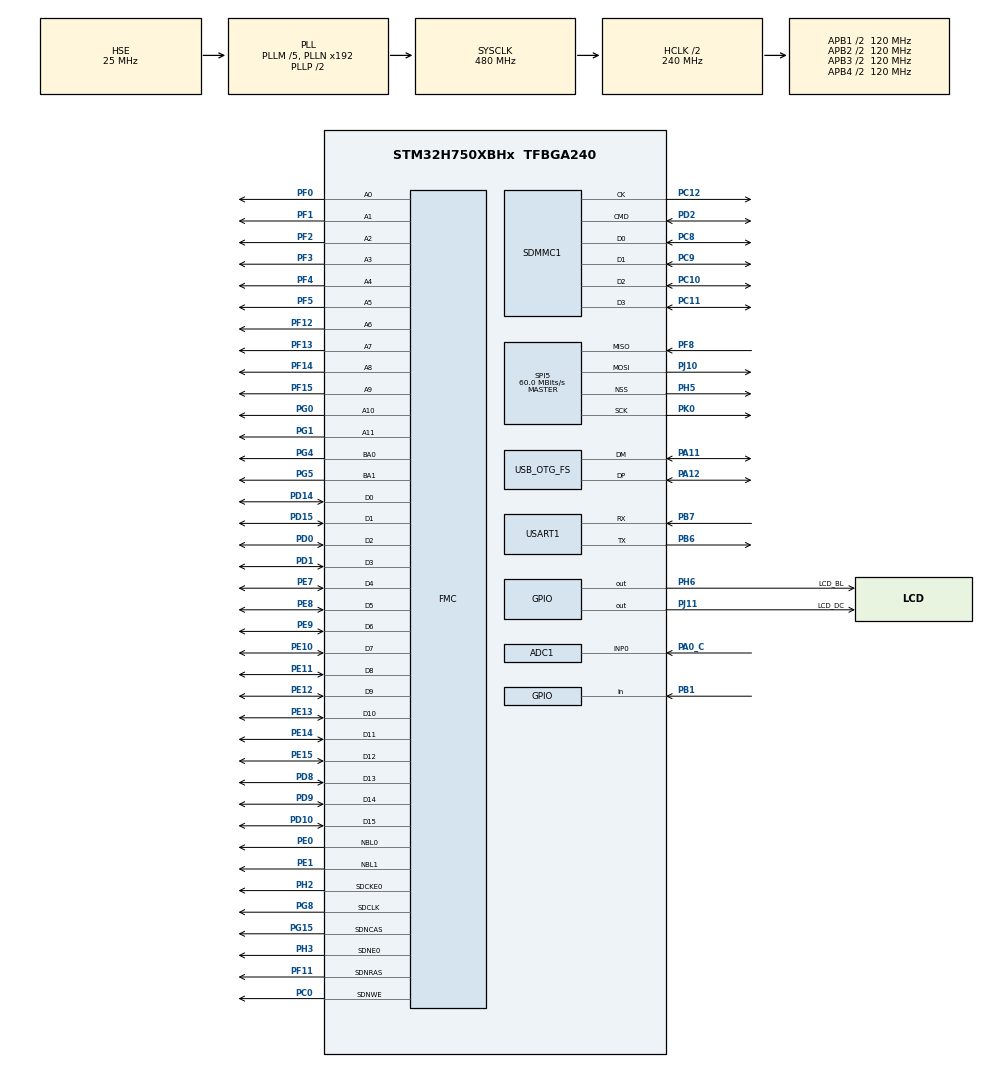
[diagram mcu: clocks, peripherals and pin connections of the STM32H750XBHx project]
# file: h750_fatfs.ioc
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ADC1.Channel-2\#ChannelRegularConversion=ADC_CHANNEL_0
ADC1.NbrOfConversionFlag=1
ADC1.OffsetNumber-2\#ChannelRegularConversion=ADC_OFFSET_NONE
ADC1.OffsetSignedSaturation-2\#ChannelRegularConversion=DISABLE
ADC1.Rank-2\#ChannelRegularConversion=1
ADC1.SamplingTime-2\#ChannelRegularConversion=ADC_SAMPLETIME_1CYCLE_5
ADC1.master=1
CORTEX_M7.AccessPermission-Cortex_Memory_Protection_Unit_Region0_Settings=MPU_REGION_FULL_ACCESS
CORTEX_M7.AccessPermission-Cortex_Memory_Protection_Unit_Region1_Settings=MPU_REGION_FULL_ACCESS
CORTEX_M7.AccessPermission-Cortex_Memory_Protection_Unit_Region2_Settings=MPU_REGION_FULL_ACCESS
CORTEX_M7.AccessPermission-Cortex_Memory_Protection_Unit_Region3_Settings=MPU_REGION_FULL_ACCESS
CORTEX_M7.AccessPermission-Cortex_Memory_Protection_Unit_Region4_Settings=MPU_REGION_FULL_ACCESS
CORTEX_M7.BaseAddress-Cortex_Memory_Protection_Unit_Region0_Settings=0x24000000
CORTEX_M7.BaseAddress-Cortex_Memory_Protection_Unit_Region1_Settings=0x30000000
CORTEX_M7.BaseAddress-Cortex_Memory_Protection_Unit_Region2_Settings=0x38000000
CORTEX_M7.BaseAddress-Cortex_Memory_Protection_Unit_Region3_Settings=0xC0000000
CORTEX_M7.BaseAddress-Cortex_Memory_Protection_Unit_Region4_Settings=0x90000000
CORTEX_M7.CPU_DCache=Enabled
CORTEX_M7.CPU_ICache=Enabled
CORTEX_M7.Enable-Cortex_Memory_Protection_Unit_Region0_Settings=MPU_REGION_ENABLE
CORTEX_M7.Enable-Cortex_Memory_Protection_Unit_Region1_Settings=MPU_REGION_ENABLE
CORTEX_M7.Enable-Cortex_Memory_Protection_Unit_Region2_Settings=MPU_REGION_ENABLE
CORTEX_M7.Enable-Cortex_Memory_Protection_Unit_Region3_Settings=MPU_REGION_ENABLE
CORTEX_M7.Enable-Cortex_Memory_Protection_Unit_Region4_Settings=MPU_REGION_ENABLE
CORTEX_M7.IsBufferable-Cortex_Memory_Protection_Unit_Region0_Settings=MPU_ACCESS_BUFFERABLE
CORTEX_M7.IsBufferable-Cortex_Memory_Protection_Unit_Region1_Settings=MPU_ACCESS_BUFFERABLE
CORTEX_M7.IsBufferable-Cortex_Memory_Protection_Unit_Region2_Settings=MPU_ACCESS_BUFFERABLE
CORTEX_M7.IsBufferable-Cortex_Memory_Protection_Unit_Region3_Settings=MPU_ACCESS_BUFFERABLE
CORTEX_M7.IsBufferable-Cortex_Memory_Protection_Unit_Region4_Settings=MPU_ACCESS_BUFFERABLE
CORTEX_M7.IsCacheable-Cortex_Memory_Protection_Unit_Region0_Settings=MPU_ACCESS_CACHEABLE
CORTEX_M7.IsCacheable-Cortex_Memory_Protection_Unit_Region1_Settings=MPU_ACCESS_CACHEABLE
CORTEX_M7.IsCacheable-Cortex_Memory_Protection_Unit_Region2_Settings=MPU_ACCESS_CACHEABLE
CORTEX_M7.IsCacheable-Cortex_Memory_Protection_Unit_Region3_Settings=MPU_ACCESS_CACHEABLE
CORTEX_M7.IsCacheable-Cortex_Memory_Protection_Unit_Region4_Settings=MPU_ACCESS_CACHEABLE
CORTEX_M7.MPU_Control=MPU_PRIVILEGED_DEFAULT
CORTEX_M7.Size-Cortex_Memory_Protection_Unit_Region0_Settings=MPU_REGION_SIZE_512KB
CORTEX_M7.Size-Cortex_Memory_Protection_Unit_Region1_Settings=MPU_REGION_SIZE_512KB
CORTEX_M7.Size-Cortex_Memory_Protection_Unit_Region2_Settings=MPU_REGION_SIZE_64KB
CORTEX_M7.Size-Cortex_Memory_Protection_Unit_Region3_Settings=MPU_REGION_SIZE_16MB
CORTEX_M7.Size-Cortex_Memory_Protection_Unit_Region4_Settings=MPU_REGION_SIZE_8MB
CORTEX_M7.TypeExtField-Cortex_Memory_Protection_Unit_Region0_Settings=MPU_TEX_LEVEL1
CORTEX_M7.TypeExtField-Cortex_Memory_Protection_Unit_Region1_Settings=MPU_TEX_LEVEL1
CORTEX_M7.TypeExtField-Cortex_Memory_Protection_Unit_Region2_Settings=MPU_TEX_LEVEL1
CORTEX_M7.TypeExtField-Cortex_Memory_Protection_Unit_Region3_Settings=MPU_TEX_LEVEL1
CORTEX_M7.TypeExtField-Cortex_Memory_Protection_Unit_Region4_Settings=MPU_TEX_LEVEL1
DMA2D.ColorMode=DMA2D_OUTPUT_RGB888
Dma.Request0=SPI5_TX
Dma.SPI5_TX.0.Direction=DMA_MEMORY_TO_PERIPH
Dma.SPI5_TX.0.EventEnable=DISABLE
Dma.SPI5_TX.0.FIFOMode=DMA_FIFOMODE_DISABLE
Dma.SPI5_TX.0.Instance=DMA1_Stream0
Dma.SPI5_TX.0.MemDataAlignment=DMA_MDATAALIGN_BYTE
Dma.SPI5_TX.0.MemInc=DMA_MINC_ENABLE
Dma.SPI5_TX.0.Mode=DMA_NORMAL
Dma.SPI5_TX.0.PeriphDataAlignment=DMA_PDATAALIGN_BYTE
Dma.SPI5_TX.0.PeriphInc=DMA_PINC_DISABLE
Dma.SPI5_TX.0.Polarity=HAL_DMAMUX_REQ_GEN_RISING
Dma.SPI5_TX.0.Priority=DMA_PRIORITY_LOW
Dma.SPI5_TX.0.RequestNumber=1
Dma.SPI5_TX.0.SignalID=NONE
Dma.SPI5_TX.0.SyncEnable=DISABLE
Dma.SPI5_TX.0.SyncPolarity=HAL_DMAMUX_SYNC_NO_EVENT
Dma.SPI5_TX.0.SyncRequestNumber=1
Dma.SPI5_TX.0.SyncSignalID=NONE
FATFS.BSP.number=1
FATFS0.BSP.STBoard=false
FATFS0.BSP.api=Unknown
FATFS0.BSP.i2caddr=0
FATFS0.BSP.instance=PB1
FATFS0.BSP.ip=GPIO
FATFS0.BSP.mode=Input
FATFS0.BSP.name=Detect_SDIO
FATFS0.BSP.solution=PB1
FMC.CASLatency1=FMC_SDRAM_CAS_LATENCY_3
FMC.ColumnBitsNumber1=FMC_SDRAM_COLUMN_BITS_NUM_9
FMC.ExitSelfRefreshDelay1=7
FMC.LoadToActiveDelay1=2
FMC.RCDDelay1=2
FMC.RPDelay1=2
FMC.RPDelay2=2
FMC.ReadBurst1=FMC_SDRAM_RBURST_ENABLE
FMC.ReadPipeDelay1=FMC_SDRAM_RPIPE_DELAY_1
FMC.RowCycleDelay1=7
FMC.RowCycleDelay2=7
FMC.SDClockPeriod1=FMC_SDRAM_CLOCK_PERIOD_2
FMC.SDClockPeriod2=FMC_SDRAM_CLOCK_PERIOD_2
FMC.SelfRefreshTime1=4
FMC.WriteRecoveryTime1=3
JPEG.JPEG_RGB_FORMAT=JPEG_RGB565
Mcu.Family=STM32H7
Mcu.Name=STM32H750XBHx
Mcu.Package=TFBGA240
NVIC.DMA1_Stream0_IRQn=true\:0\:0\:false\:false\:true\:false\:true
NVIC.OTG_FS_IRQn=true\:0\:0\:false\:false\:true\:false\:true
NVIC.PriorityGroup=NVIC_PRIORITYGROUP_4
NVIC.SDMMC1_IRQn=true\:0\:0\:false\:false\:true\:true\:true
NVIC.SPI5_IRQn=true\:0\:0\:false\:false\:true\:true\:true
NVIC.TIM2_IRQn=true\:0\:0\:false\:false\:true\:true\:true
PA0_C.Signal=ADCx_INP0
PA11.Mode=Device_Only
PA11.Signal=USB_OTG_FS_DM
PA12.Mode=Device_Only
PA12.Signal=USB_OTG_FS_DP
PA13\ (JTMS/SWDIO).Mode=Serial_Wire
PA13\ (JTMS/SWDIO).Signal=DEBUG_JTMS-SWDIO
PA14\ (JTCK/SWCLK).Mode=Serial_Wire
PA14\ (JTCK/SWCLK).Signal=DEBUG_JTCK-SWCLK
PB1.GPIO_PuPd=GPIO_PULLDOWN
PB1.Signal=GPIO_Input
PB6.Mode=Asynchronous
PB6.Signal=USART1_TX
PB7.Mode=Asynchronous
PB7.Signal=USART1_RX
PC0.Signal=FMC_SDNWE
PC10.Mode=SD_4_bits_Wide_bus
PC10.Signal=SDMMC1_D2
PC11.Mode=SD_4_bits_Wide_bus
PC11.Signal=SDMMC1_D3
PC12.Mode=SD_4_bits_Wide_bus
PC12.Signal=SDMMC1_CK
PC14-OSC32_IN\ (OSC32_IN).Mode=LSE-External-Oscillator
PC14-OSC32_IN\ (OSC32_IN).Signal=RCC_OSC32_IN
PC15-OSC32_OUT\ (OSC32_OUT).Mode=LSE-External-Oscillator
PC15-OSC32_OUT\ (OSC32_OUT).Signal=RCC_OSC32_OUT
PC8.Mode=SD_4_bits_Wide_bus
PC8.Signal=SDMMC1_D0
PC9.Mode=SD_4_bits_Wide_bus
PC9.Signal=SDMMC1_D1
PD0.Signal=FMC_D2_DA2
PD1.Signal=FMC_D3_DA3
PD10.Signal=FMC_D15_DA15
PD14.Signal=FMC_D0_DA0
PD15.Signal=FMC_D1_DA1
PD2.Mode=SD_4_bits_Wide_bus
PD2.Signal=SDMMC1_CMD
PD8.Signal=FMC_D13_DA13
PD9.Signal=FMC_D14_DA14
PE0.Signal=FMC_NBL0
PE1.Signal=FMC_NBL1
PE10.Signal=FMC_D7_DA7
PE11.Signal=FMC_D8_DA8
PE12.Signal=FMC_D9_DA9
PE13.Signal=FMC_D10_DA10
PE14.Signal=FMC_D11_DA11
PE15.Signal=FMC_D12_DA12
PE7.Signal=FMC_D4_DA4
PE8.Signal=FMC_D5_DA5
PE9.Signal=FMC_D6_DA6
PF0.Signal=FMC_A0
PF1.Signal=FMC_A1
PF11.Signal=FMC_SDNRAS
PF12.Signal=FMC_A6
PF13.Signal=FMC_A7
PF14.Signal=FMC_A8
PF15.Signal=FMC_A9
PF2.Signal=FMC_A2
PF3.Signal=FMC_A3
PF4.Signal=FMC_A4
PF5.Signal=FMC_A5
PF8.GPIO_Speed=GPIO_SPEED_FREQ_VERY_HIGH
PF8.Mode=Full_Duplex_Master
PF8.Signal=SPI5_MISO
PG0.Signal=FMC_A10
PG1.Signal=FMC_A11
PG15.Signal=FMC_SDNCAS
PG4.Signal=FMC_A14_BA0
PG5.Signal=FMC_A15_BA1
PG8.Signal=FMC_SDCLK
PH0-OSC_IN\ (PH0).Mode=HSE-External-Oscillator
PH0-OSC_IN\ (PH0).Signal=RCC_OSC_IN
PH1-OSC_OUT\ (PH1).Mode=HSE-External-Oscillator
PH1-OSC_OUT\ (PH1).Signal=RCC_OSC_OUT
PH2.Mode=SdramChipSelect1_1
PH2.Signal=FMC_SDCKE0
PH3.Mode=SdramChipSelect1_1
PH3.Signal=FMC_SDNE0
PH5.GPIO_Speed=GPIO_SPEED_FREQ_VERY_HIGH
PH5.Mode=NSS_Signal_Hard_Output
PH5.Signal=SPI5_NSS
PH6.GPIO_Label=LCD_BL
PH6.GPIO_Speed=GPIO_SPEED_FREQ_VERY_HIGH
PH6.Signal=GPIO_Output
PJ10.GPIO_Speed=GPIO_SPEED_FREQ_VERY_HIGH
PJ10.Mode=Full_Duplex_Master
PJ10.Signal=SPI5_MOSI
PJ11.GPIO_Label=LCD_DC
PJ11.GPIO_Speed=GPIO_SPEED_FREQ_VERY_HIGH
PJ11.Signal=GPIO_Output
PK0.GPIO_Speed=GPIO_SPEED_FREQ_VERY_HIGH
PK0.Mode=Full_Duplex_Master
PK0.Signal=SPI5_SCK
ProjectManager.HeapSize=0x2000
ProjectManager.StackSize=0x2000
ProjectManager.TargetToolchain=STM32CubeIDE
RCC.ADCFreq_Value=60000000
RCC.APB1Freq_Value=120000000
RCC.APB2Freq_Value=120000000
RCC.APB3Freq_Value=120000000
RCC.APB4Freq_Value=120000000
RCC.CortexFreq_Value=480000000
RCC.D1PPRE=RCC_APB3_DIV2
RCC.D2PPRE1=RCC_APB1_DIV2
RCC.D2PPRE2=RCC_APB2_DIV2
RCC.D3PPRE=RCC_APB4_DIV2
RCC.DIVM1=5
RCC.DIVM2=5
RCC.DIVM3=25
RCC.DIVN1=192
RCC.DIVN2=120
RCC.DIVN3=192
RCC.DIVP2=10
RCC.DIVQ1=48
RCC.DIVQ2=5
RCC.DIVQ3=4
RCC.HCLKFreq_Value=240000000
RCC.HPRE=RCC_HCLK_DIV2
RCC.PLLSourceVirtual=RCC_PLLSOURCE_HSE
RCC.SYSCLKFreq_VALUE=480000000
RCC.SYSCLKSource=RCC_SYSCLKSOURCE_PLLCLK
RCC.Spi45ClockSelection=RCC_SPI45CLKSOURCE_PLL2
RCC.USBCLockSelection=RCC_USBCLKSOURCE_PLL3
RCC.USBFreq_Value=48000000
SH.ADCx_INP0.0=ADC1_INP0,IN0-Single-Ended
SH.FMC_A0.0=FMC_A0,12b-sda1
SH.FMC_A1.0=FMC_A1,12b-sda1
SH.FMC_A10.0=FMC_A10,12b-sda1
SH.FMC_A11.0=FMC_A11,12b-sda1
SH.FMC_A14_BA0.0=FMC_BA0,FourSdramBanks1
SH.FMC_A15_BA1.0=FMC_BA1,FourSdramBanks1
SH.FMC_A2.0=FMC_A2,12b-sda1
SH.FMC_A3.0=FMC_A3,12b-sda1
SH.FMC_A4.0=FMC_A4,12b-sda1
SH.FMC_A5.0=FMC_A5,12b-sda1
SH.FMC_A6.0=FMC_A6,12b-sda1
SH.FMC_A7.0=FMC_A7,12b-sda1
SH.FMC_A8.0=FMC_A8,12b-sda1
SH.FMC_A9.0=FMC_A9,12b-sda1
SH.FMC_D0_DA0.0=FMC_D0,sd-16b-d1
SH.FMC_D10_DA10.0=FMC_D10,sd-16b-d1
SH.FMC_D11_DA11.0=FMC_D11,sd-16b-d1
SH.FMC_D12_DA12.0=FMC_D12,sd-16b-d1
SH.FMC_D13_DA13.0=FMC_D13,sd-16b-d1
SH.FMC_D14_DA14.0=FMC_D14,sd-16b-d1
SH.FMC_D15_DA15.0=FMC_D15,sd-16b-d1
SH.FMC_D1_DA1.0=FMC_D1,sd-16b-d1
SH.FMC_D2_DA2.0=FMC_D2,sd-16b-d1
SH.FMC_D3_DA3.0=FMC_D3,sd-16b-d1
SH.FMC_D4_DA4.0=FMC_D4,sd-16b-d1
SH.FMC_D5_DA5.0=FMC_D5,sd-16b-d1
SH.FMC_D6_DA6.0=FMC_D6,sd-16b-d1
SH.FMC_D7_DA7.0=FMC_D7,sd-16b-d1
SH.FMC_D8_DA8.0=FMC_D8,sd-16b-d1
SH.FMC_D9_DA9.0=FMC_D9,sd-16b-d1
SH.FMC_NBL0.0=FMC_NBL0,Sd2ByteEnable1
SH.FMC_NBL1.0=FMC_NBL1,Sd2ByteEnable1
SH.FMC_SDCLK.0=FMC_SDCLK,12b-sda1
SH.FMC_SDNCAS.0=FMC_SDNCAS,12b-sda1
SH.FMC_SDNRAS.0=FMC_SDNRAS,12b-sda1
SH.FMC_SDNWE.0=FMC_SDNWE,12b-sda1
SPI5.BaudRatePrescaler=SPI_BAUDRATEPRESCALER_2
SPI5.CalculateBaudRate=60.0 MBits/s
SPI5.DataSize=SPI_DATASIZE_8BIT
SPI5.Direction=SPI_DIRECTION_2LINES
SPI5.FifoThreshold=SPI_FIFO_THRESHOLD_02DATA
SPI5.Mode=SPI_MODE_MASTER
SPI5.VirtualNSS=VM_NSSHARD
SPI5.VirtualType=VM_MASTER
USART1.VirtualMode-Asynchronous=VM_ASYNC
USB_DEVICE.CLASS_NAME_FS=CDC
USB_DEVICE.VirtualMode-CDC_FS=Cdc
USB_DEVICE.VirtualModeFS=Cdc_FS
USB_OTG_FS.VirtualMode=Device_Only
VP_DMA2D_VS_DMA2D.Mode=DMA2D_Activate
VP_FATFS_VS_SDIO.Mode=SDIO
VP_JPEG_VS_JPEG.Mode=JPEG_Activate
VP_TIM2_VS_ClockSourceINT.Mode=Internal
VP_TIM3_VS_ClockSourceINT.Mode=Internal
VP_TIM4_VS_ClockSourceINT.Mode=Internal
VP_USB_DEVICE_VS_USB_DEVICE_CDC_FS.Mode=CDC_FS
board=custom

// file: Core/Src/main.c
/* USER CODE BEGIN Header */
/**
  ******************************************************************************
  * @file           : main.c
  * @brief          : Main program body
  ******************************************************************************
  * @attention
  *
  * Copyright (c) 2023 STMicroelectronics.
  * All rights reserved.
  *
  * This software is licensed under terms that can be found in the LICENSE file
  * in the root directory of this software component.
  * If no LICENSE file comes with this software, it is provided AS-IS.
  *
  ******************************************************************************
  */
/* USER CODE END Header */
#include "main.h"
#include "adc.h"
#include "dma.h"
#include "dma2d.h"
#include "fatfs.h"
#include "jpeg.h"
#include "sdmmc.h"
#include "spi.h"
#include "tim.h"
#include "usart.h"
#include "usb_device.h"
#include "gpio.h"
#include "fmc.h"

/* USER CODE BEGIN Includes */
#include <stdio.h>
#include <string.h>
#include "usbd_cdc_if.h"
#include "ff.h"
#include "ffconf.h"
//#include "ST7789_Driver.h"
#include "lvgl.h"
#include "lv_port_disp.h"

/* USER CODE END Includes */

/* USER CODE BEGIN PD */

#define one_clk_time	0.00416666f
#define SDRAM_Size 		16*1024*1024
#define SDRAM_BASEADDRESS	0xC0000000
#define DTCM_BASEADDRESS	0x20000000
#define CHUNK_SIZE_IN  ((uint32_t)(64 * 1024))  // µ¥´Î½âÂëÊäÈëÊý¾Ý×î´ó³¤¶È
#define CHUNK_SIZE_OUT ((uint32_t)(64 * 1024))  // µ¥´Î½âÂëÊä³öÊý¾Ý×î´ó³¤¶È

/* USER CODE END PD */

void SystemClock_Config(void);
void PeriphCommonClock_Config(void);
static void MPU_Config(void);

/* USER CODE BEGIN 0 */
#define	p_buf

#ifdef	p_buf
	uint16_t *buf = (uint16_t *)0xC0000000;
#else
	SDRAM uint16_t buf[SDRAM_Size/2] = {0};
#endif
uint32_t	tim_start,tim_end;
uint32_t	tim_long;
float		time_us;
uint32_t Get_TIM_CNT(TIM_HandleTypeDef htim)
{
	return	htim.Instance->CNT;
}

uint8_t SDRAM_Test(void)
{
	volatile uint32_t  i = 0;			// ¼ÆÊý±äÁ¿
	uint32_t k = 0;
	uint16_t ReadData = 0; 	// ¶ÁÈ¡µ½µÄÊý¾Ý
	uint32_t Err_Num = 0;

	float    ExecutionSpeed;			// Ö´ÐÐËÙ¶È
	htim2.Instance->CNT = 0;
	tim_start = Get_TIM_CNT(htim2);
	HAL_TIM_Base_Start(&htim2);
	HAL_Delay(100);
	tim_end = Get_TIM_CNT(htim2);
	HAL_TIM_Base_Stop(&htim2);
	tim_long = tim_end - tim_start;
	time_us = tim_long * one_clk_time;
	usb_printf("\r\n delay %.2f us!\r\n", time_us);
	HAL_Delay(10);

	usb_printf("\r\n SDRAM Write an Read test start!\r\n");
	HAL_Delay(10);

	htim2.Instance->CNT = 0;
	tim_start = Get_TIM_CNT(htim2);
	HAL_TIM_Base_Start(&htim2);
	for (k = 0; k < SDRAM_Size/2; k++)
	{
		buf[k] = (uint16_t)k;
	}
	tim_end = Get_TIM_CNT(htim2);
	HAL_TIM_Base_Stop(&htim2);
	tim_long = tim_end - tim_start;
	time_us = tim_long * one_clk_time;
	ExecutionSpeed = (float)SDRAM_Size /1024/1024 /time_us*1000*1000 ;

	usb_printf("\r\nWrite Speed is %.2f MB/s\r\n",ExecutionSpeed);
	HAL_Delay(10);

	htim2.Instance->CNT = 0;
	tim_start = Get_TIM_CNT(htim2);
	HAL_TIM_Base_Start(&htim2);
	for(i = 0; i < SDRAM_Size/2;i++ )
	{
		ReadData = buf[i];  // ´ÓSDRAM¶Á³öÊý¾Ý
	}
	tim_end = Get_TIM_CNT(htim2);
	HAL_TIM_Base_Stop(&htim2);
	tim_long = tim_end - tim_start;
	time_us = tim_long * one_clk_time;

	ExecutionSpeed = (float)SDRAM_Size /1024/1024 /time_us*1000*1000 ;

	usb_printf("\r\nRead Speed is %.2f MB/s\r\n",ExecutionSpeed);
	HAL_Delay(10);

	usb_printf("\r\nstart 16bits test\r\n");
	HAL_Delay(10);
	for(i = 0; i < SDRAM_Size/2;i++ )
	{
		ReadData = buf[i];
		if( ReadData != (uint16_t)i )
		{
			Err_Num++;
		}
	}
	if(Err_Num != 0){
		usb_printf("\r\nSDRAM test failed , %d\r\n", Err_Num);
		HAL_Delay(10);
		return ERROR;
	}

	usb_printf("SDRAM OK\r\n");
	return SUCCESS;
}

static FATFS fatfs;
char wr_buf[256] = "Hello, World!\r\n你干嘛哎哟\r\n";
char rd_buf[256];

FATFS 	SD_FatFs; 		// ÎÄ¼þÏµÍ³¶ÔÏó
FRESULT 	MyFile_Res;    // ²Ù×÷½á¹û

int FATFS_Init()
{
	FRESULT status;
	//TCHAR *Path = "0:/";
	unsigned char work[512];

	status = f_mount(&fatfs, "0:", 1);  //
	if(status != FR_OK){
		status = f_mkfs("0:", FM_FAT32, 0, work, sizeof work);
		//status = f_mkfs(0, 0, 4096);
		if(status != FR_OK){
			return HAL_ERROR;
		}

		status = f_mount(&fatfs, "0:", 1);
		if(status != FR_OK){
			return HAL_ERROR;
		}
	}

	return HAL_OK;
}

int SD_WriteByte(char *file_name, void *pdata, uint32_t byte_len)
{
	FIL fil; //
	UINT bw; //
	FRESULT status;

	status = f_open(&fil, file_name, FA_CREATE_ALWAYS | FA_WRITE);

	f_lseek(&fil, 0);

	f_write(&fil, pdata, byte_len, &bw);

	f_close(&fil);

	return status;
}

int SD_ReadByte(char *file_name, void *pdata, uint32_t byte_len)
{
	FIL fil; //
	UINT br; //
	FRESULT status;

	status = f_open(&fil, file_name, FA_OPEN_EXISTING | FA_READ);

	f_lseek(&fil, 0);

	status = f_read(&fil, pdata, byte_len, &br);

	f_close(&fil);

	return status;
}

int SD_ReadFile(char *file_name, void *pdata, uint32_t *byte_len)
{
	FIL fil; //
	UINT br; //

	f_open(&fil, file_name, FA_OPEN_EXISTING | FA_READ);

	f_lseek(&fil, 0);

	f_read(&fil, pdata, fil.obj.objsize, &br);

	f_close(&fil);
	*byte_len = br;//fil.obj.objsize;
	return HAL_OK;
}

int SD_CreateDir(char *dir_name)
{
	FRESULT status;
	status = f_mkdir(dir_name);
	if(status != FR_OK)
		return HAL_ERROR;

	return HAL_OK;
}

uint32_t SD_CardCapacity = 0;		//SD¿¨µÄ×ÜÈÝÁ¿
uint32_t SD_FreeCapacity = 0;		//SD¿¨¿ÕÏÐÈÝÁ¿
void FatFs_GetVolume(void)	// ¼ÆËãÉè±¸ÈÝÁ¿
{
	FATFS *fs;		//¶¨Òå½á¹¹ÌåÖ¸Õë

	DWORD fre_clust, fre_sect, tot_sect; 	//

	f_getfree("0:",&fre_clust,&fs);			//

	tot_sect = (fs->n_fatent-2) * fs->csize;	//
	fre_sect = fre_clust * fs->csize;			//

	SD_CardCapacity = tot_sect / 2048 ;	//
	SD_FreeCapacity = fre_sect / 2048 ;	//
}

FRESULT status;
uint8_t pic_buf[100*1024];
uint8_t *pic_decode_buf = (uint8_t *)SDRAM_BASEADDRESS;
uint8_t *pic_rgb888 = (uint8_t *)(SDRAM_BASEADDRESS + 3*1024*1024);
uint32_t pic_size;
uint8_t x_offset=0;
int		slider1_value = 0;
uint8_t r=0,g=0,b=0;
//uint16_t frame[LCD_Pixel];
//uint16_t *frame = (uint16_t *)SDRAM_BASEADDRESS;

static lv_obj_t * scr1;
static lv_obj_t * scr2;
static lv_obj_t * scr3;
static lv_style_t style1, style2, style3;  //创建style
lv_obj_t * label;
lv_obj_t * label2;
lv_obj_t * label3;
lv_obj_t * label5;
lv_obj_t * slider1;
static lv_color_t bg_color;

void lv_scr_init(void)
{
	scr1 = lv_obj_create(NULL);//创建屏幕
	scr2 = lv_obj_create(NULL);
	scr3 = lv_obj_create(NULL);

	lv_style_init(&style1);                          //初始化style
	lv_style_set_radius(&style1, 5);                  //设置样式的圆角
	lv_style_set_bg_opa(&style1, LV_OPA_COVER);       //设置样式透明度
	bg_color = lv_color_make(255, 255, 255);
	lv_style_set_bg_color(&style1, bg_color);  //设置主背景颜色 调色板减轻，后面参数越高则也淡
	lv_obj_add_style(scr1, &style1,0);

	lv_style_init(&style2);                          //初始化style
	lv_style_set_radius(&style2, 5);                  //设置样式的圆角
	lv_style_set_bg_opa(&style2, LV_OPA_COVER);       //设置样式透明度
	bg_color = lv_color_make(0, 255, 0);
	lv_style_set_bg_color(&style2, bg_color);  //设置主背景颜色 调色板减轻，后面参数越高则也淡
	lv_obj_add_style(scr2, &style2, 0);

	lv_style_init(&style3);                          //初始化style
	lv_style_set_radius(&style3, 5);                  //设置样式的圆角
	lv_style_set_bg_opa(&style3, LV_OPA_COVER);       //设置样式透明度
	bg_color = lv_color_make(0, 0, 255);
	lv_style_set_bg_color(&style3, bg_color);  //设置主背景颜色 调色板减轻，后面参数越高则也淡
	lv_obj_add_style(scr3, &style3, 0);

}

void lv_ex_label(void)
{

	/* 屏幕1控件 */
	label = lv_label_create(scr1);
    lv_label_set_recolor(label, true);
    lv_label_set_long_mode(label, LV_LABEL_LONG_CLIP); /*Circular scroll*/
    lv_obj_set_width(label, 240);
    lv_obj_set_height(label, 20);
    lv_label_set_text_fmt(label, "#00ff00 Hello, World!#");
    lv_obj_align(label, LV_ALIGN_CENTER, 0, 40);

    LV_FONT_DECLARE(Font_16);//声明字库
    label2 = lv_label_create(scr1);
    lv_label_set_recolor(label2, true);
    lv_label_set_long_mode(label2, LV_LABEL_LONG_CLIP); /*Circular scroll*/
    lv_obj_set_width(label2, 240);
    lv_obj_set_height(label2, 20);
    lv_label_set_text_fmt(label2, "#ff0000 你好，世界！#");
    lv_obj_align(label2, LV_ALIGN_CENTER, 0, -40);
    lv_obj_set_style_text_font(label2, &Font_16, LV_PART_MAIN | LV_STATE_DEFAULT);

    LV_FONT_DECLARE(Font_japenese_16);
    label3 = lv_label_create(scr1);
    lv_label_set_recolor(label3, true);
    lv_label_set_long_mode(label3, LV_LABEL_LONG_CLIP); /*Circular scroll*/
    lv_obj_set_width(label3, 240);
    lv_obj_set_height(label3, 20);
    lv_label_set_text_fmt(label3, "#0000ff ハローワールド#");
    lv_obj_align(label3, LV_ALIGN_CENTER, 0, 0);
    lv_obj_set_style_text_font(label3, &Font_japenese_16, LV_PART_MAIN | LV_STATE_DEFAULT);
    //lv_obj_set_pos(label3, 0, 0);

//    lv_obj_t * label4 = lv_label_create(lv_scr_act());
//    lv_obj_set_scrollbar_mode(label4, LV_SCROLLBAR_​​MODE_ON);
//    static lv_style_t style_red;
//    lv_style_init(&style_red);
//    lv_style_set_bg_color(&style_red, lv_color_red());
//    lv_obj_add_style(label4, &style_red, LV_PART_SCROLLBAR);

    /* 屏幕2控件 */
    slider1 = lv_slider_create(scr2);
    lv_obj_set_width(slider1, 100);
    lv_obj_set_height(slider1, 16);
    lv_slider_set_range(slider1, 0, 100);	   				/*Set the min. and max. values*/
    lv_slider_set_value(slider1, slider1_value, LV_ANIM_OFF);		/*Set the current value (position)*/
    //lv_obj_set_pos(slider1, 0, 40);
    lv_obj_align(slider1, LV_ALIGN_CENTER, 0, -50);

    LV_FONT_DECLARE(Font_16);//声明字库
    label5 = lv_label_create(scr2);
    lv_label_set_recolor(label5, true);
    lv_label_set_long_mode(label5, LV_LABEL_LONG_CLIP); /*Circular scroll*/
    lv_obj_set_width(label5, 240);
    lv_obj_set_height(label5, 20);
    lv_label_set_text_fmt(label5, "#ff0000 滚动文字#");
    lv_obj_align(label5, LV_ALIGN_CENTER, 0, -20);
    lv_obj_set_style_text_font(label5, &Font_16, LV_PART_MAIN | LV_STATE_DEFAULT);
    static lv_style_t style_red;
    lv_style_init(&style_red);
	bg_color = lv_color_make(255, 0, 0);
    lv_style_set_bg_color(&style_red, bg_color);
    lv_obj_add_style(label5, &style_red, LV_PART_SCROLLBAR);
    lv_obj_set_scrollbar_mode(label5, LV_SCROLLBAR_MODE_ON);
    lv_obj_set_scroll_dir(label5, LV_DIR_VER);
    lv_obj_set_scroll_snap_x(label5, LV_SCROLL_SNAP_START);
    /* 屏幕3控件 */

}

uint32_t running_time_ms = 0;

void HAL_TIM_PeriodElapsedCallback(TIM_HandleTypeDef *htim)
{
	if(htim == &htim2)
	{
		running_time_ms++;
		lv_tick_inc(1);
	}
}

/* USER CODE END 0 */

int main(void)
{

  /* MPU Configuration--------------------------------------------------------*/
  MPU_Config();

  /* Enable I-Cache---------------------------------------------------------*/
  SCB_EnableICache();

  /* Enable D-Cache---------------------------------------------------------*/
  SCB_EnableDCache();

  /* MCU Configuration--------------------------------------------------------*/

  /* Reset of all peripherals, Initializes the Flash interface and the Systick. */
  HAL_Init();

  /* Configure the system clock */
  SystemClock_Config();

/* Configure the peripherals common clocks */
  PeriphCommonClock_Config();

  /* Initialize all configured peripherals */
  MX_GPIO_Init();
  MX_ADC1_Init();
  MX_FMC_Init();
  MX_JPEG_Init();
  MX_SDMMC1_SD_Init();
  MX_TIM2_Init();
  MX_TIM3_Init();
  MX_TIM4_Init();
  MX_USART1_UART_Init();
  MX_FATFS_Init();
  MX_DMA_Init();
  MX_SPI5_Init();
  MX_USB_DEVICE_Init();
  MX_DMA2D_Init();
  /* USER CODE BEGIN 2 */
  HAL_TIM_Base_Start_IT(&htim2);
//  FATFS_Init();
//  LCD_Init();
//  FatFs_GetVolume();
//  status = SD_WriteByte("0:ABC.txt", wr_buf, 256);
//  HAL_Delay(2);
//  status = SD_ReadByte("0:ABC.txt", rd_buf, 256);
//  status = SD_ReadFile("0:ying.jpg", pic_buf, &pic_size);
//
//  HAL_JPEG_Decode(&hjpeg, pic_buf, CHUNK_SIZE_IN, pic_decode_buf, CHUNK_SIZE_OUT, 2000);
//  HAL_JPEG_Decode(&hjpeg, pic_buf+CHUNK_SIZE_IN, pic_size-CHUNK_SIZE_IN, pic_decode_buf+CHUNK_SIZE_OUT, pic_size-CHUNK_SIZE_IN, 2000);
//  HAL_DMA2D_Start(&hdma2d, (uint32_t)pic_decode_buf, (uint32_t)pic_rgb888, 890, 988);
//  memcpy(rd_buf, pic_rgb888, 256);
  lv_init();
  lv_port_disp_init();
  lv_scr_init();

  lv_scr_load(scr1);
  lv_ex_label();

  /* USER CODE END 2 */

  /* Infinite loop */
  while (1)
  {

    /* USER CODE BEGIN 3 */
	  //SDRAM_Test();

	  /*
	  for(int i=0; i<LCD_Pixel; i++)
		  frame[i] = RED_MASK;
	  LCD_Refresh(frame);
	  for(int i=0; i<LCD_Pixel; i++)
		  frame[i] = GREEN_MASK;
	  LCD_Refresh(frame);
	  for(int i=0; i<LCD_Pixel; i++)
		  frame[i] = BLUD_MASK;
	  LCD_Refresh(frame);

	  for(int i=0; i<LCD_Pixel/2; i++)
		  frame[i] = BLUD_MASK;
	  for(int i=LCD_Pixel/2; i<LCD_Pixel; i++)
		  frame[i] = RED_MASK;
	  LCD_Refresh(frame);*/
	  lv_label_set_text_fmt(label, "#00ff00 See you again!#");
	  lv_task_handler();//用来刷新控件的，不用的话控件就不更新
	  HAL_Delay(1000);
	  lv_label_set_text_fmt(label, "#00ff00 Hello, World!#");
	  lv_task_handler();
	  HAL_Delay(1000);
	  lv_label_set_text_fmt(label, "#00ff00 FUCK, World!#");
	  lv_task_handler();
	  HAL_Delay(1000);
	  //lv_obj_clean(scr1);
	  //lv_ex_label();

	  //lv_ex_label();
	  //lv_timer_handler();

  }
  /* USER CODE END 3 */
}

void SystemClock_Config(void)
{
  RCC_OscInitTypeDef RCC_OscInitStruct = {0};
  RCC_ClkInitTypeDef RCC_ClkInitStruct = {0};

  /** Supply configuration update enable
  */
  HAL_PWREx_ConfigSupply(PWR_LDO_SUPPLY);
  /** Configure the main internal regulator output voltage
  */
  __HAL_PWR_VOLTAGESCALING_CONFIG(PWR_REGULATOR_VOLTAGE_SCALE0);

  while(!__HAL_PWR_GET_FLAG(PWR_FLAG_VOSRDY)) {}
  /** Macro to configure the PLL clock source
  */
  __HAL_RCC_PLL_PLLSOURCE_CONFIG(RCC_PLLSOURCE_HSE);
  /** Initializes the RCC Oscillators according to the specified parameters
  * in the RCC_OscInitTypeDef structure.
  */
  RCC_OscInitStruct.OscillatorType = RCC_OSCILLATORTYPE_HSE;
  RCC_OscInitStruct.HSEState = RCC_HSE_ON;
  RCC_OscInitStruct.PLL.PLLState = RCC_PLL_ON;
  RCC_OscInitStruct.PLL.PLLSource = RCC_PLLSOURCE_HSE;
  RCC_OscInitStruct.PLL.PLLM = 5;
  RCC_OscInitStruct.PLL.PLLN = 192;
  RCC_OscInitStruct.PLL.PLLP = 2;
  RCC_OscInitStruct.PLL.PLLQ = 48;
  RCC_OscInitStruct.PLL.PLLR = 2;
  RCC_OscInitStruct.PLL.PLLRGE = RCC_PLL1VCIRANGE_2;
  RCC_OscInitStruct.PLL.PLLVCOSEL = RCC_PLL1VCOWIDE;
  RCC_OscInitStruct.PLL.PLLFRACN = 0;
  if (HAL_RCC_OscConfig(&RCC_OscInitStruct) != HAL_OK)
  {
    Error_Handler();
  }
  /** Initializes the CPU, AHB and APB buses clocks
  */
  RCC_ClkInitStruct.ClockType = RCC_CLOCKTYPE_HCLK|RCC_CLOCKTYPE_SYSCLK
                              |RCC_CLOCKTYPE_PCLK1|RCC_CLOCKTYPE_PCLK2
                              |RCC_CLOCKTYPE_D3PCLK1|RCC_CLOCKTYPE_D1PCLK1;
  RCC_ClkInitStruct.SYSCLKSource = RCC_SYSCLKSOURCE_PLLCLK;
  RCC_ClkInitStruct.SYSCLKDivider = RCC_SYSCLK_DIV1;
  RCC_ClkInitStruct.AHBCLKDivider = RCC_HCLK_DIV2;
  RCC_ClkInitStruct.APB3CLKDivider = RCC_APB3_DIV2;
  RCC_ClkInitStruct.APB1CLKDivider = RCC_APB1_DIV2;
  RCC_ClkInitStruct.APB2CLKDivider = RCC_APB2_DIV2;
  RCC_ClkInitStruct.APB4CLKDivider = RCC_APB4_DIV2;

  if (HAL_RCC_ClockConfig(&RCC_ClkInitStruct, FLASH_LATENCY_4) != HAL_OK)
  {
    Error_Handler();
  }
}

void PeriphCommonClock_Config(void)
{
  RCC_PeriphCLKInitTypeDef PeriphClkInitStruct = {0};

  /** Initializes the peripherals clock
  */
  PeriphClkInitStruct.PeriphClockSelection = RCC_PERIPHCLK_ADC|RCC_PERIPHCLK_SPI5;
  PeriphClkInitStruct.PLL2.PLL2M = 5;
  PeriphClkInitStruct.PLL2.PLL2N = 120;
  PeriphClkInitStruct.PLL2.PLL2P = 10;
  PeriphClkInitStruct.PLL2.PLL2Q = 5;
  PeriphClkInitStruct.PLL2.PLL2R = 2;
  PeriphClkInitStruct.PLL2.PLL2RGE = RCC_PLL2VCIRANGE_2;
  PeriphClkInitStruct.PLL2.PLL2VCOSEL = RCC_PLL2VCOWIDE;
  PeriphClkInitStruct.PLL2.PLL2FRACN = 0;
  PeriphClkInitStruct.Spi45ClockSelection = RCC_SPI45CLKSOURCE_PLL2;
  PeriphClkInitStruct.AdcClockSelection = RCC_ADCCLKSOURCE_PLL2;
  if (HAL_RCCEx_PeriphCLKConfig(&PeriphClkInitStruct) != HAL_OK)
  {
    Error_Handler();
  }
}

/* MPU Configuration */

void MPU_Config(void)
{
  MPU_Region_InitTypeDef MPU_InitStruct = {0};

  /* Disables the MPU */
  HAL_MPU_Disable();
  /** Initializes and configures the Region and the memory to be protected
  */
  MPU_InitStruct.Enable = MPU_REGION_ENABLE;
  MPU_InitStruct.Number = MPU_REGION_NUMBER0;
  MPU_InitStruct.BaseAddress = 0x24000000;
  MPU_InitStruct.Size = MPU_REGION_SIZE_512KB;
  MPU_InitStruct.SubRegionDisable = 0x0;
  MPU_InitStruct.TypeExtField = MPU_TEX_LEVEL1;
  MPU_InitStruct.AccessPermission = MPU_REGION_FULL_ACCESS;
  MPU_InitStruct.DisableExec = MPU_INSTRUCTION_ACCESS_ENABLE;
  MPU_InitStruct.IsShareable = MPU_ACCESS_NOT_SHAREABLE;
  MPU_InitStruct.IsCacheable = MPU_ACCESS_CACHEABLE;
  MPU_InitStruct.IsBufferable = MPU_ACCESS_BUFFERABLE;

  HAL_MPU_ConfigRegion(&MPU_InitStruct);
  /** Initializes and configures the Region and the memory to be protected
  */
  MPU_InitStruct.Number = MPU_REGION_NUMBER1;
  MPU_InitStruct.BaseAddress = 0x30000000;

  HAL_MPU_ConfigRegion(&MPU_InitStruct);
  /** Initializes and configures the Region and the memory to be protected
  */
  MPU_InitStruct.Number = MPU_REGION_NUMBER2;
  MPU_InitStruct.BaseAddress = 0x38000000;
  MPU_InitStruct.Size = MPU_REGION_SIZE_64KB;

  HAL_MPU_ConfigRegion(&MPU_InitStruct);
  /** Initializes and configures the Region and the memory to be protected
  */
  MPU_InitStruct.Number = MPU_REGION_NUMBER3;
  MPU_InitStruct.BaseAddress = 0xC0000000;
  MPU_InitStruct.Size = MPU_REGION_SIZE_16MB;

  HAL_MPU_ConfigRegion(&MPU_InitStruct);
  /** Initializes and configures the Region and the memory to be protected
  */
  MPU_InitStruct.Number = MPU_REGION_NUMBER4;
  MPU_InitStruct.BaseAddress = 0x90000000;
  MPU_InitStruct.Size = MPU_REGION_SIZE_8MB;

  HAL_MPU_ConfigRegion(&MPU_InitStruct);
  /* Enables the MPU */
  HAL_MPU_Enable(MPU_PRIVILEGED_DEFAULT);

}

void Error_Handler(void)
{
  __disable_irq();
  while (1)
  {
  }
}
